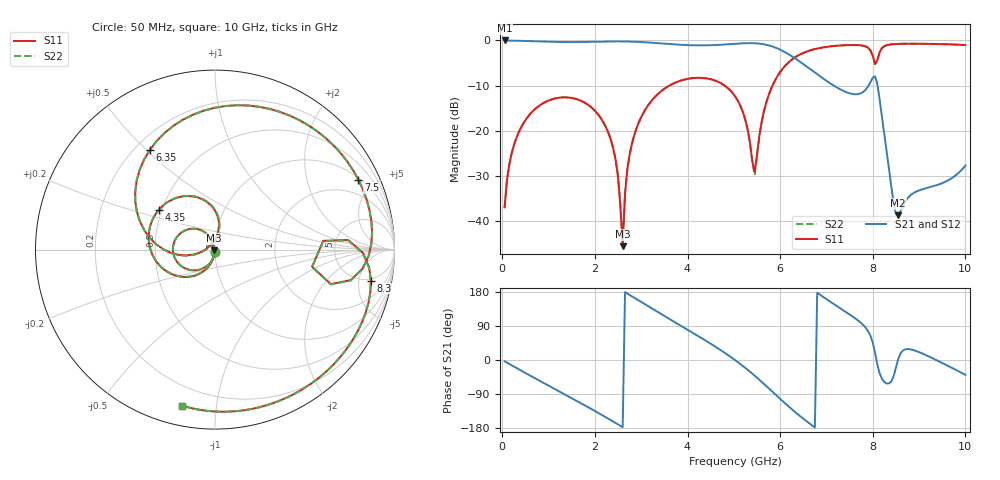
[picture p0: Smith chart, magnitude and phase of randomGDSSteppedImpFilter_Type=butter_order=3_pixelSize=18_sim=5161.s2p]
! freq	dB(S11)	phase(S11)	dB(S12)	phase(S12)
!  dB(S21)	phase(S21)	dB(S22)	phase(S22)
!S-par simulation data
#  GHz  S  DB  R 50
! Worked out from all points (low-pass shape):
!   200 points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, 50 MHz to 10 GHz, reference 50 ohm
!   highest |S21| = -0.01 dB at 50 MHz (marker M1); lowest = -38.7 dB at 8.55 GHz (marker M2)
!   |S21| within 3 dB of the highest: start of sweep to 6.175 GHz
!   lowest |S11| = -45.5 dB at 2.6 GHz (marker M3), VSWR 1.01, Z = 49.6 - j0.306 ohm
!   |S11| at or under -10 dB: start of sweep to 3.607 GHz; 4.803 GHz to 5.835 GHz (1.032 GHz wide, 19.4 % of centre)
!   |S22| runs from -44.0 to -0.7 dB; largest |S21 - S12| = 0
!   S11 on the Smith chart (normalised r, x): 50 MHz: 1.00, -0.03; 4.35 GHz: 0.48, +0.25; 6.35 GHz: 0.26, +0.51; 7.5 GHz: 1.10, +4.06; 8.3 GHz: 4.55, -7.33; 10 GHz: 0.10, -0.81
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0.05  -36.95 -92.9  -0.01 -3.5  -0.01 -3.5  -36.95 -92.9
0.2  -25.08 -103.7  -0.04 -13.9  -0.04 -13.9  -25.08 -103.7
0.55  -16.93 -128.1  -0.14 -37.7  -0.14 -37.7  -16.93 -128.1
1.75  -13.61 152.4  -0.34 -117.4  -0.34 -117.4  -13.61 152.6
2.35  -22.19 112.4  -0.22 -159.2  -0.22 -159.2  -22.18 113.2
2.5  -30.20 105.2  -0.22 -170.0  -0.22 -170.0  -30.15 107.7
2.6  -45.52 -144.4  -0.22 -177.4  -0.22 -177.4  -44.02 -151.5
2.65  -33.97 -101.7  -0.23 178.9  -0.23 178.9  -33.84 -106.0
2.8  -22.84 -105.4  -0.27 167.8  -0.27 167.8  -22.82 -106.7
3.4  -11.49 -147.5  -0.63 123.4  -0.63 123.4  -11.49 -148.0
4.35  -8.32 144.9  -1.10 54.3  -1.10 54.3  -8.32 144.4
5.05  -12.72 92.3  -0.73 -2.3  -0.73 -2.3  -12.73 91.5
5.45  -29.09 142.6  -0.62 -41.3  -0.62 -41.3  -29.79 142.8
5.75  -12.15 -175.9  -1.08 -74.3  -1.08 -74.3  -12.16 -175.5
6.35  -3.56 123.2  -4.16 -140.1  -4.16 -140.1  -3.56 123.2
6.7  -2.05 90.2  -6.74 -173.6  -6.74 -173.6  -2.05 90.1
7.5  -1.02 25.9  -11.70 120.2  -11.70 120.2  -1.02 25.8
8.05  -5.21 -10.0  -7.95 18.4  -7.95 18.4  -5.20 -10.2
8.3  -1.05 -11.3  -24.68 -62.0  -24.68 -62.0  -1.05 -11.4
8.35  -0.94 -15.4  -28.38 -61.7  -28.38 -61.7  -0.94 -15.6
8.55  -0.77 -29.3  -38.69 2.8  -38.69 2.8  -0.77 -29.5
10  -1.03 -101.8  -27.68 -39.3  -27.68 -39.3  -1.03 -101.8
